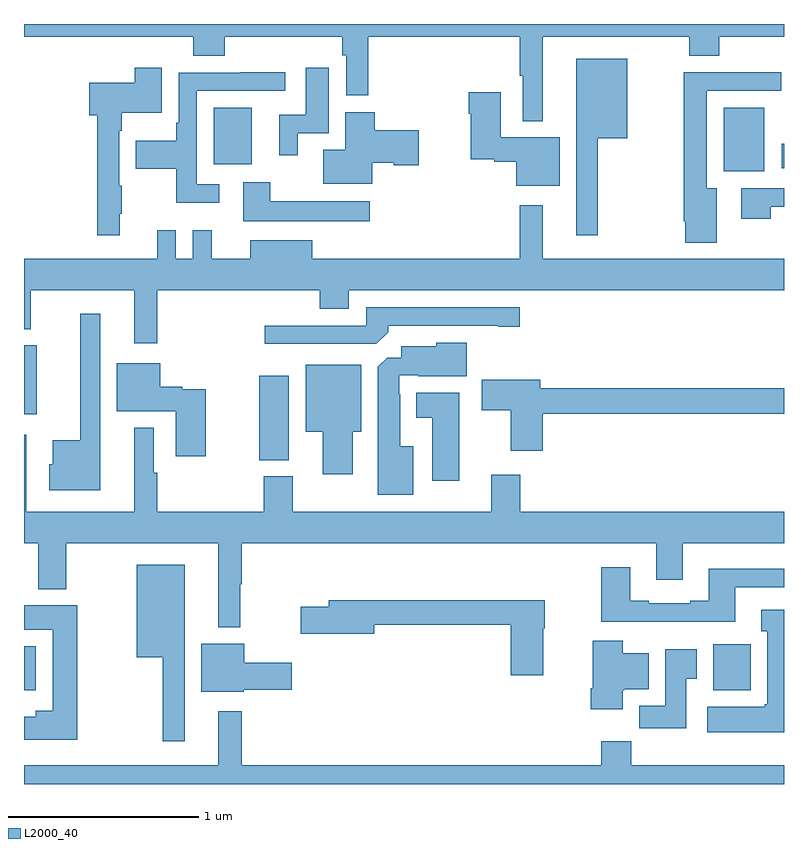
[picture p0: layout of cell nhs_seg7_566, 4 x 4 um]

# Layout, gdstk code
import gdstk
lib = gdstk.Library(unit=1e-6, precision=1e-09)
def R(c, l, rs):  # rectangles x0, y0, x1, y1
    for r in rs: c.add(gdstk.rectangle(r[:2], r[2:], *l))
def P(c, l, *ps):  # polygons
    for p in ps: c.add(gdstk.Polygon(p, *l))
L2000_40 = (2000, 40)

nhs_seg7_566 = lib.new_cell('nhs_seg7_566')
R(nhs_seg7_566, L2000_40, [(155,1014.494,155.062,1014.724), (158.627,1014.494,158.824,1014.736), (156.239,1015.705,156.394,1016.149), (155,1015.947,155.068,1016.308), (158.684,1017.224,158.896,1017.559), (158.987,1017.242,159,1017.37), (155.999,1017.263,156.199,1017.559)])
P(nhs_seg7_566, L2000_40, [(157.729,1017.932),(158.5,1017.932),(158.5,1017.833),(158.66,1017.833),(158.66,1017.932),(159,1017.932),(159,1018),(155,1018),(155,1017.932),(155.891,1017.932),(155.891,1017.833),(156.056,1017.833),(156.056,1017.932),(156.676,1017.932),(156.676,1017.836),(156.696,1017.836),(156.696,1017.624),(156.812,1017.624),(156.812,1017.932),(157.608,1017.932),(157.608,1017.727),(157.625,1017.727),(157.625,1017.488),(157.729,1017.488)],
  [(158.021,1017.398),(158.176,1017.398),(158.176,1017.817),(157.907,1017.817),(157.907,1016.889),(158.021,1016.889)],
  [(155.504,1017.001),(155.515,1017.001),(155.515,1017.149),(155.502,1017.149),(155.502,1017.437),(155.515,1017.437),(155.515,1017.533),(155.725,1017.533),(155.725,1017.769),(155.582,1017.769),(155.582,1017.691),(155.343,1017.691),(155.343,1017.521),(155.386,1017.521),(155.386,1016.889),(155.504,1016.889)],
  [(156.442,1017.426),(156.604,1017.426),(156.604,1017.769),(156.482,1017.769),(156.482,1017.522),(156.344,1017.522),(156.344,1017.309),(156.442,1017.309)],
  [(156.028,1017.156),(155.91,1017.156),(155.91,1017.648),(156.376,1017.648),(156.376,1017.746),(156.139,1017.746),(156.139,1017.744),(155.814,1017.744),(155.814,1017.481),(155.802,1017.481),(155.802,1017.385),(155.587,1017.385),(155.587,1017.238),(155.802,1017.238),(155.802,1017.059),(156.028,1017.059)],
  [(158.647,1017.136),(158.593,1017.136),(158.593,1017.648),(158.986,1017.648),(158.986,1017.746),(158.473,1017.746),(158.473,1016.962),(158.48,1016.962),(158.48,1016.85),(158.647,1016.85)],
  [(157.819,1017.403),(157.51,1017.403),(157.51,1017.64),(157.34,1017.64),(157.34,1017.527),(157.352,1017.527),(157.352,1017.287),(157.476,1017.287),(157.476,1017.275),(157.592,1017.275),(157.592,1017.149),(157.819,1017.149)],
  [(156.832,1017.269),(156.947,1017.269),(156.947,1017.257),(157.078,1017.257),(157.078,1017.44),(156.845,1017.44),(156.845,1017.535),(156.692,1017.535),(156.692,1017.337),(156.575,1017.337),(156.575,1017.158),(156.832,1017.158)],
  [(156.82,1017.067),(156.295,1017.067),(156.295,1017.166),(156.155,1017.166),(156.155,1016.963),(156.82,1016.963)],
  [(158.931,1017.039),(159,1017.039),(159,1017.135),(158.775,1017.135),(158.775,1016.976),(158.931,1016.976)],
  [(155.701,1016.6),(156.557,1016.6),(156.557,1016.501),(156.709,1016.501),(156.709,1016.6),(159,1016.6),(159,1016.764),(157.729,1016.764),(157.729,1017.046),(157.608,1017.046),(157.608,1016.764),(156.517,1016.764),(156.517,1016.863),(156.191,1016.863),(156.191,1016.764),(155.987,1016.764),(155.987,1016.914),(155.889,1016.914),(155.889,1016.764),(155.799,1016.764),(155.799,1016.914),(155.702,1016.914),(155.702,1016.764),(155,1016.764),(155,1016.394),(155.035,1016.394),(155.035,1016.6),(155.579,1016.6),(155.579,1016.319),(155.701,1016.319)],
  [(156.917,1016.378),(156.917,1016.412),(157.496,1016.412),(157.496,1016.407),(157.609,1016.407),(157.609,1016.508),(156.801,1016.508),(156.801,1016.412),(156.267,1016.412),(156.267,1016.316),(156.855,1016.316)],
  [(155.401,1016.476),(155.297,1016.476),(155.297,1015.81),(155.15,1015.81),(155.15,1015.683),(155.132,1015.683),(155.132,1015.547),(155.401,1015.547)],
  [(157.048,1015.777),(156.979,1015.777),(156.979,1016.051),(156.975,1016.051),(156.975,1016.151),(157.075,1016.151),(157.075,1016.147),(157.33,1016.147),(157.33,1016.323),(157.17,1016.323),(157.17,1016.305),(156.986,1016.305),(156.986,1016.244),(156.912,1016.244),(156.863,1016.195),(156.863,1015.523),(157.048,1015.523)],
  [(155.956,1016.077),(155.832,1016.077),(155.832,1016.09),(155.716,1016.09),(155.716,1016.215),(155.489,1016.215),(155.489,1015.961),(155.798,1015.961),(155.798,1015.725),(155.956,1015.725)],
  [(156.73,1015.853),(156.775,1015.853),(156.775,1016.206),(156.482,1016.206),(156.482,1015.853),(156.572,1015.853),(156.572,1015.629),(156.73,1015.629)],
  [(157.73,1015.948),(159,1015.948),(159,1016.084),(157.717,1016.084),(157.717,1016.128),(157.41,1016.128),(157.41,1015.966),(157.562,1015.966),(157.562,1015.755),(157.73,1015.755)],
  [(157.291,1016.059),(157.064,1016.059),(157.064,1015.928),(157.148,1015.928),(157.148,1015.596),(157.291,1015.596)],
  [(156.137,1015.052),(156.145,1015.052),(156.145,1015.268),(158.327,1015.268),(158.327,1015.074),(158.467,1015.074),(158.467,1015.268),(159,1015.268),(159,1015.432),(157.613,1015.432),(157.613,1015.627),(157.46,1015.627),(157.46,1015.432),(156.415,1015.432),(156.415,1015.62),(156.263,1015.62),(156.263,1015.432),(155.701,1015.432),(155.701,1015.637),(155.683,1015.637),(155.683,1015.876),(155.579,1015.876),(155.579,1015.432),(155.013,1015.432),(155.013,1015.837),(155,1015.837),(155,1015.268),(155.075,1015.268),(155.075,1015.025),(155.223,1015.025),(155.223,1015.268),(156.023,1015.268),(156.023,1014.824),(156.137,1014.824)],
  [(155.845,1015.153),(155.594,1015.153),(155.594,1014.668),(155.731,1014.668),(155.731,1014.225),(155.845,1014.225)],
  [(158.743,1015.035),(159,1015.035),(159,1015.132),(158.603,1015.132),(158.603,1014.964),(158.507,1014.964),(158.507,1014.951),(158.287,1014.951),(158.287,1014.964),(158.191,1014.964),(158.191,1015.141),(158.039,1015.141),(158.039,1014.854),(158.743,1014.854)],
  [(157.732,1014.821),(157.74,1014.821),(157.74,1014.967),(156.605,1014.967),(156.605,1014.933),(156.456,1014.933),(156.456,1014.791),(156.844,1014.791),(156.844,1014.838),(157.562,1014.838),(157.562,1014.573),(157.732,1014.573)],
  [(155.28,1014.94),(155,1014.94),(155,1014.812),(155.15,1014.812),(155.15,1014.385),(155.063,1014.385),(155.063,1014.355),(155,1014.355),(155,1014.233),(155.28,1014.233)],
  [(159,1014.916),(158.879,1014.916),(158.879,1014.803),(158.912,1014.803),(158.912,1014.42),(158.899,1014.42),(158.899,1014.406),(158.595,1014.406),(158.595,1014.272),(159,1014.272)],
  [(158.152,1014.494),(158.158,1014.494),(158.158,1014.5),(158.287,1014.5),(158.287,1014.688),(158.152,1014.688),(158.152,1014.754),(157.994,1014.754),(157.994,1014.505),(157.982,1014.505),(157.982,1014.393),(158.152,1014.393)],
  [(156.156,1014.496),(156.409,1014.496),(156.409,1014.638),(156.16,1014.638),(156.16,1014.739),(155.933,1014.739),(155.933,1014.485),(156.156,1014.485)],
  [(158.485,1014.553),(158.542,1014.553),(158.542,1014.709),(158.375,1014.709),(158.375,1014.412),(158.237,1014.412),(158.237,1014.294),(158.485,1014.294)],
  [(159,1014.1),(158.195,1014.1),(158.195,1014.224),(158.039,1014.224),(158.039,1014.1),(156.145,1014.1),(156.145,1014.382),(156.023,1014.382),(156.023,1014.1),(155,1014.1),(155,1014),(159,1014)])

lib.write_gds('nhs_seg7_566.gds')
